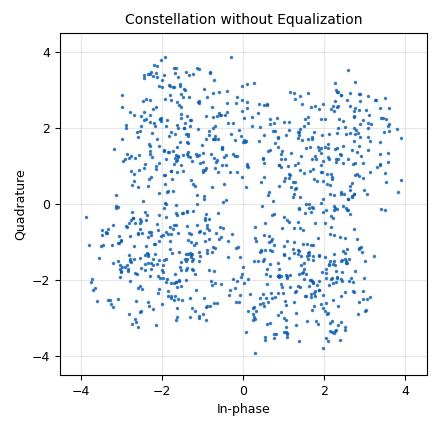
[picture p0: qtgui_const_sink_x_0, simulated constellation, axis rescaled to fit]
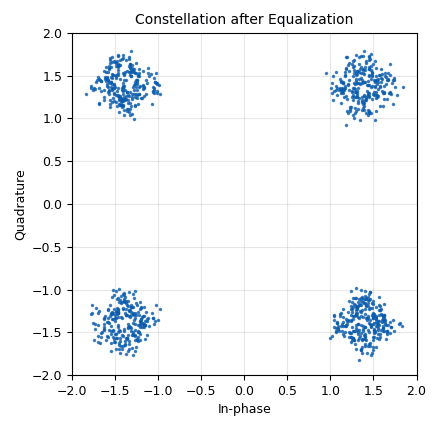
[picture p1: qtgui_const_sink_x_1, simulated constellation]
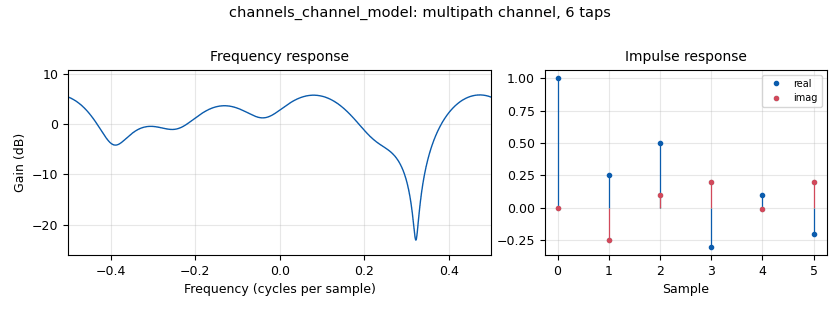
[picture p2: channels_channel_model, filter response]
options:
  parameters:
    generate_options: qt_gui
    id: qpsk_equalization_LMS
    output_language: python
    title: Not titled yet
  states: {}

blocks:
- name: arity
  id: variable
  parameters:
    value: '4'
  states: {}
- name: noise
  id: variable_qtgui_range
  parameters:
    gui_hint: 2,0,1,1
    label: Channel Noise
    start: '0'
    step: '0.01'
    stop: '1'
    value: '0.0001'
  states: {}
- name: samp_rate
  id: variable
  parameters:
    value: '32000'
  states: {}
- name: sps
  id: variable
  parameters:
    value: '4'
  states: {}
- name: taps
  id: variable
  parameters:
    value: '[1.0, 0.25-0.25j, 0.50 + 0.10j, -0.3 + 0.2j, 0.1 - 0.01j, -0.2 + 0.2j]'
  states: {}
- name: variable_adaptive_algorithm_0
  id: variable_adaptive_algorithm
  parameters:
    cons: variable_constellation_2
    modulus: '4'
    step_size: '0.0005'
    type: lms
  states: {}
- name: variable_constellation_2
  id: variable_constellation
  parameters:
    const_points: '[1, 1j, -1, -1j]'
    precision: '8'
    sym_map: '[0,1,2,3]'
    type: qpsk
  states: {}
- name: analog_random_source_x_0
  id: analog_random_source_x
  parameters:
    max: '256'
    min: '0'
    num_samps: '1000'
    repeat: 'True'
    type: byte
  states: {}
- name: blocks_throttle2_0
  id: blocks_throttle2
  parameters:
    samples_per_second: samp_rate
    type: complex
  states: {}
- name: channels_channel_model
  id: channels_channel_model
  parameters:
    epsilon: '1'
    freq_offset: '0'
    noise_voltage: noise
    seed: '0'
    taps: taps
  states: {}
- name: digital_constellation_modulator_0_0
  id: digital_constellation_modulator
  parameters:
    constellation: variable_constellation_2
    differential: 'False'
    excess_bw: '0.35'
    samples_per_symbol: '2'
  states: {}
- name: digital_linear_equalizer_0
  id: digital_linear_equalizer
  parameters:
    adapt_after_training: '1'
    alg: variable_adaptive_algorithm_0
    num_taps: '15'
    sps: '2'
    training_sequence: '[]'
    training_start_tag: ''
  states: {}
- name: import_math
  id: import
  parameters:
    imports: import math
  states: {}
- name: qtgui_const_sink_x_0
  id: qtgui_const_sink_x
  parameters:
    name: '"Constellation without Equalization"'
    size: '1024'
    type: complex
  states: {}
- name: qtgui_const_sink_x_1
  id: qtgui_const_sink_x
  parameters:
    name: '"Constellation after Equalization"'
    size: '1024'
    type: complex
  states: {}

connections:
- [analog_random_source_x_0, '0', digital_constellation_modulator_0_0, '0']
- [blocks_throttle2_0, '0', qtgui_const_sink_x_1, '0']
- [channels_channel_model, '0', digital_linear_equalizer_0, '0']
- [channels_channel_model, '0', qtgui_const_sink_x_0, '0']
- [digital_constellation_modulator_0_0, '0', channels_channel_model, '0']
- [digital_linear_equalizer_0, '0', blocks_throttle2_0, '0']

metadata:
  file_format: 1
  grc_version: 3.10.7.0
